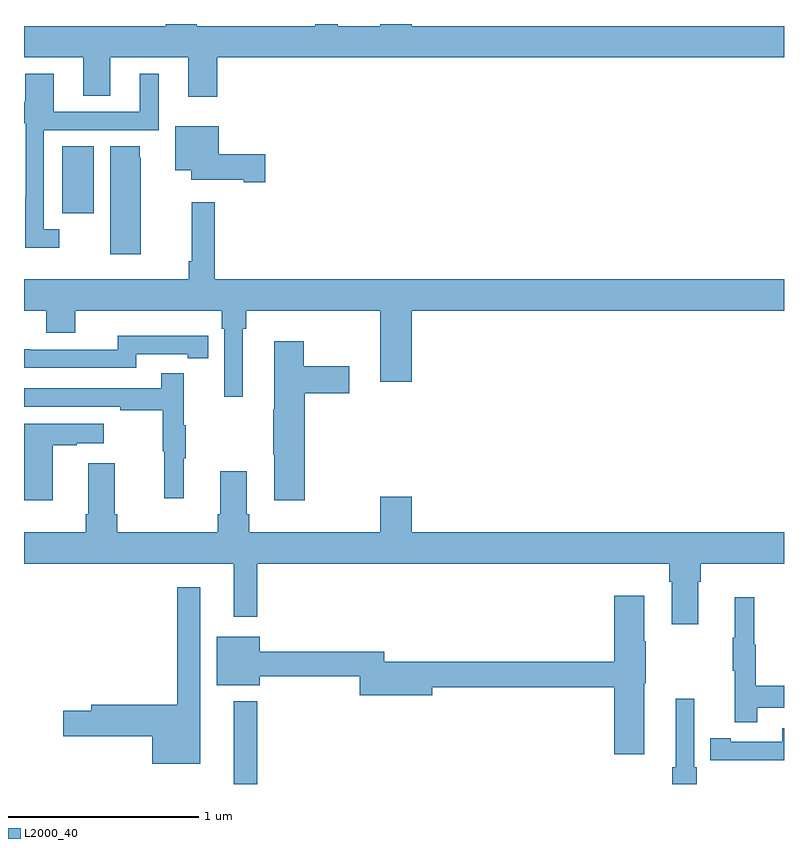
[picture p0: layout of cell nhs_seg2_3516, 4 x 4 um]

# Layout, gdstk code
import gdstk
lib = gdstk.Library(unit=1e-6, precision=1e-09)
def R(c, l, rs):  # rectangles x0, y0, x1, y1
    for r in rs: c.add(gdstk.rectangle(r[:2], r[2:], *l))
def P(c, l, *ps):  # polygons
    for p in ps: c.add(gdstk.Polygon(p, *l))
L2000_40 = (2000, 40)

nhs_seg2_3516 = lib.new_cell('nhs_seg2_3516')
R(nhs_seg2_3516, L2000_40, [(296.105,655.8,296.227,656.236), (295.202,658.803,295.366,659.156)])
P(nhs_seg2_3516, L2000_40, [(299,659.788),(297.04,659.788),(297.04,659.8),(296.876,659.8),(296.876,659.788),(296.652,659.788),(296.652,659.8),(296.533,659.8),(296.533,659.788),(295.91,659.788),(295.91,659.8),(295.745,659.8),(295.745,659.788),(295,659.788),(295,659.624),(295.313,659.624),(295.313,659.422),(295.453,659.422),(295.453,659.624),(295.865,659.624),(295.865,659.418),(296.018,659.418),(296.018,659.624),(299,659.624)],
  [(295.186,658.719),(295.104,658.719),(295.104,659.241),(295.708,659.241),(295.708,659.539),(295.61,659.539),(295.61,659.337),(295.156,659.337),(295.156,659.539),(295.007,659.539),(295.007,659.391),(295,659.391),(295,659.277),(295.008,659.277),(295.008,658.889),(295.007,658.889),(295.007,658.622),(295.186,658.622)],
  [(296.269,659.114),(296.026,659.114),(296.026,659.263),(295.796,659.263),(295.796,659.03),(295.88,659.03),(295.88,658.979),(296.156,658.979),(296.156,658.967),(296.269,658.967)],
  [(295.615,659.097),(295.609,659.097),(295.609,659.156),(295.454,659.156),(295.454,658.587),(295.615,658.587)],
  [(296.152,658.196),(296.171,658.196),(296.171,658.292),(296.876,658.292),(296.876,657.918),(297.04,657.918),(297.04,658.292),(299,658.292),(299,658.456),(296.003,658.456),(296.003,658.861),(295.882,658.861),(295.882,658.552),(295.867,658.552),(295.867,658.456),(295,658.456),(295,658.292),(295.118,658.292),(295.118,658.175),(295.27,658.175),(295.27,658.292),(296.042,658.292),(296.042,658.196),(296.055,658.196),(296.055,657.837),(296.152,657.837)],
  [(295.59,658.062),(295.862,658.062),(295.862,658.042),(295.97,658.042),(295.97,658.158),(295.862,658.158),(295.862,658.159),(295.494,658.159),(295.494,658.086),(295.034,658.086),(295.034,658.088),(295,658.088),(295,657.99),(295.59,657.99)],
  [(296.477,657.857),(296.713,657.857),(296.713,657.999),(296.472,657.999),(296.472,658.129),(296.318,658.129),(296.318,657.773),(296.311,657.773),(296.311,657.532),(296.318,657.532),(296.318,657.294),(296.477,657.294)],
  [(295.841,657.515),(295.852,657.515),(295.852,657.689),(295.841,657.689),(295.841,657.961),(295.723,657.961),(295.723,657.882),(295,657.882),(295,657.786),(295.507,657.786),(295.507,657.766),(295.731,657.766),(295.731,657.552),(295.738,657.552),(295.738,657.303),(295.841,657.303)],
  [(295.15,657.583),(295.277,657.583),(295.277,657.593),(295.42,657.593),(295.42,657.697),(295,657.697),(295,657.294),(295.15,657.294)],
  [(298.549,656.864),(298.562,656.864),(298.562,656.96),(299,656.96),(299,657.124),(297.04,657.124),(297.04,657.313),(296.876,657.313),(296.876,657.124),(296.186,657.124),(296.186,657.22),(296.173,657.22),(296.173,657.445),(296.033,657.445),(296.033,657.22),(296.021,657.22),(296.021,657.124),(295.49,657.124),(295.49,657.22),(295.477,657.22),(295.477,657.487),(295.337,657.487),(295.337,657.22),(295.325,657.22),(295.325,657.124),(295,657.124),(295,656.96),(296.105,656.96),(296.105,656.679),(296.227,656.679),(296.227,656.96),(298.397,656.96),(298.397,656.864),(298.409,656.864),(298.409,656.64),(298.549,656.64)],
  [(295.927,656.836),(295.806,656.836),(295.806,656.216),(295.355,656.216),(295.355,656.186),(295.206,656.186),(295.206,656.051),(295.676,656.051),(295.676,655.907),(295.927,655.907)],
  [(298.264,656.331),(298.272,656.331),(298.272,656.552),(298.264,656.552),(298.264,656.791),(298.106,656.791),(298.106,656.444),(296.896,656.444),(296.896,656.497),(296.242,656.497),(296.242,656.575),(296.015,656.575),(296.015,656.321),(296.242,656.321),(296.242,656.368),(296.768,656.368),(296.768,656.266),(297.148,656.266),(297.148,656.308),(298.106,656.308),(298.106,655.956),(298.264,655.956)],
  [(298.859,656.202),(299,656.202),(299,656.318),(298.852,656.318),(298.852,656.532),(298.844,656.532),(298.844,656.782),(298.742,656.782),(298.742,656.569),(298.731,656.569),(298.731,656.395),(298.742,656.395),(298.742,656.124),(298.859,656.124)],
  [(298.541,655.888),(298.527,655.888),(298.527,656.248),(298.43,656.248),(298.43,655.888),(298.411,655.888),(298.411,655.8),(298.541,655.8)],
  [(299,656.094),(298.992,656.094),(298.992,656.022),(298.72,656.022),(298.72,656.042),(298.612,656.042),(298.612,655.926),(298.72,655.926),(298.72,655.925),(299,655.925)])

lib.write_gds('nhs_seg2_3516.gds')
